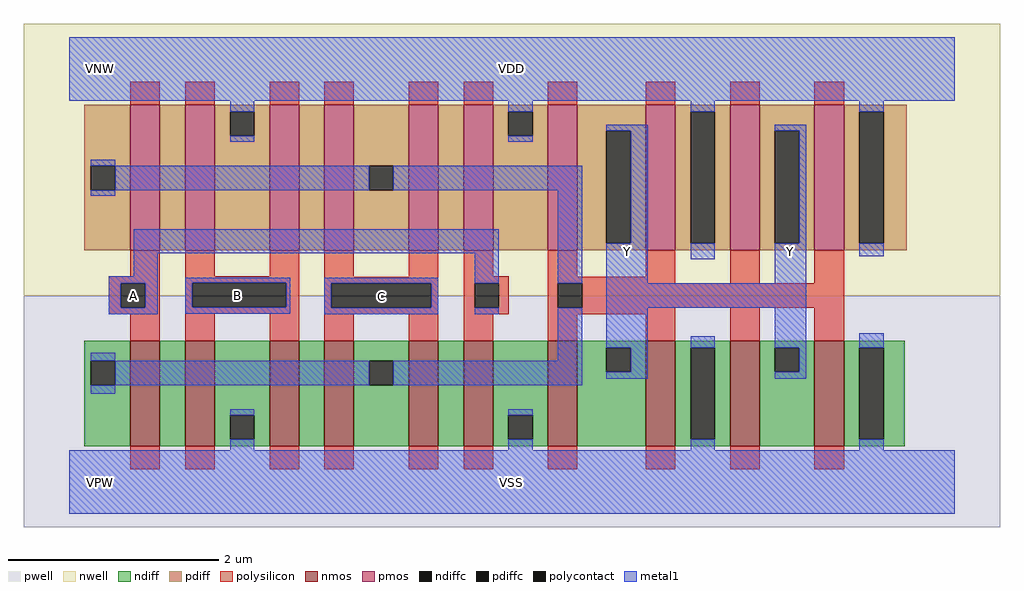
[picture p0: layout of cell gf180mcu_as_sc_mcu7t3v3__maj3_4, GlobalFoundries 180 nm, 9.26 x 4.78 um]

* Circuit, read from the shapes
.subckt gf180mcu_as_sc_mcu7t3v3__maj3_4 VDD VNW VPW VSS Y A B C
XM1 n1 A n2 VPW nfet_03v3 w=1u l=0.28u
XM2 VSS B n1 VPW nfet_03v3 w=1u l=0.28u
XM3 n3 B VSS VPW nfet_03v3 w=1u l=0.28u
XM4 n2 C n3 VPW nfet_03v3 w=1u l=0.28u
XM5 n4 C n2 VPW nfet_03v3 w=1u l=0.28u
XM6 VSS A n4 VPW nfet_03v3 w=1u l=0.28u
XM7 Y n2 VSS VPW nfet_03v3 w=1u l=0.28u m=4
XM8 n5 A n2 VNW pfet_03v3 w=1.38u l=0.28u
XM9 VDD B n5 VNW pfet_03v3 w=1.38u l=0.28u
XM10 n6 B VDD VNW pfet_03v3 w=1.38u l=0.28u
XM11 n2 C n6 VNW pfet_03v3 w=1.38u l=0.28u
XM12 n7 C n2 VNW pfet_03v3 w=1.38u l=0.28u
XM13 VDD A n7 VNW pfet_03v3 w=1.38u l=0.28u
XM14 Y n2 VDD VNW pfet_03v3 w=1.38u l=0.28u m=4
.ends

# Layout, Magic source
magic
tech gf180mcuD
magscale 1 10
<< nwell >>
rect -86 354 1766 870
<< pwell >>
rect -86 -86 1766 354
<< nmos >>
rect 116 68 172 268
rect 220 68 276 268
rect 380 68 436 268
rect 484 68 540 268
rect 644 68 700 268
rect 748 68 804 268
rect 908 68 964 268
rect 1094 68 1150 268
rect 1254 68 1310 268
rect 1414 68 1470 268
<< pmos >>
rect 116 440 172 716
rect 220 440 276 716
rect 380 440 436 716
rect 484 440 540 716
rect 644 440 700 716
rect 748 440 804 716
rect 908 440 964 716
rect 1094 440 1150 716
rect 1254 440 1310 716
rect 1414 440 1470 716
<< ndiff >>
rect 28 230 116 268
rect 28 184 41 230
rect 87 184 116 230
rect 28 68 116 184
rect 172 68 220 268
rect 276 127 380 268
rect 276 81 305 127
rect 351 81 380 127
rect 276 68 380 81
rect 436 68 484 268
rect 540 230 644 268
rect 540 184 569 230
rect 615 184 644 230
rect 540 68 644 184
rect 700 68 748 268
rect 804 127 908 268
rect 804 81 833 127
rect 879 81 908 127
rect 804 68 908 81
rect 964 255 1094 268
rect 964 209 1019 255
rect 1065 209 1094 255
rect 964 68 1094 209
rect 1150 255 1254 268
rect 1150 81 1179 255
rect 1225 81 1254 255
rect 1150 68 1254 81
rect 1310 255 1414 268
rect 1310 209 1339 255
rect 1385 209 1414 255
rect 1310 68 1414 209
rect 1470 255 1585 268
rect 1470 81 1499 255
rect 1545 81 1585 255
rect 1470 68 1585 81
<< pdiff >>
rect 28 600 116 716
rect 28 554 41 600
rect 87 554 116 600
rect 28 440 116 554
rect 172 440 220 716
rect 276 703 380 716
rect 276 657 305 703
rect 351 657 380 703
rect 276 440 380 657
rect 436 440 484 716
rect 540 600 644 716
rect 540 554 569 600
rect 615 554 644 600
rect 540 440 644 554
rect 700 440 748 716
rect 804 703 908 716
rect 804 657 833 703
rect 879 657 908 703
rect 804 440 908 657
rect 964 667 1094 716
rect 964 453 1019 667
rect 1065 453 1094 667
rect 964 440 1094 453
rect 1150 703 1254 716
rect 1150 453 1179 703
rect 1225 453 1254 703
rect 1150 440 1254 453
rect 1310 667 1414 716
rect 1310 453 1339 667
rect 1385 453 1414 667
rect 1310 440 1414 453
rect 1470 703 1589 716
rect 1470 453 1499 703
rect 1545 453 1589 703
rect 1470 440 1589 453
<< ndiffc >>
rect 41 184 87 230
rect 305 81 351 127
rect 569 184 615 230
rect 833 81 879 127
rect 1019 209 1065 255
rect 1179 81 1225 255
rect 1339 209 1385 255
rect 1499 81 1545 255
<< pdiffc >>
rect 41 554 87 600
rect 305 657 351 703
rect 569 554 615 600
rect 833 657 879 703
rect 1019 453 1065 667
rect 1179 453 1225 703
rect 1339 453 1385 667
rect 1499 453 1545 703
<< polysilicon >>
rect 116 716 172 760
rect 220 716 276 760
rect 380 716 436 760
rect 484 716 540 760
rect 644 716 700 760
rect 748 716 804 760
rect 908 716 964 760
rect 1094 716 1150 760
rect 1254 716 1310 760
rect 1414 716 1470 760
rect 116 391 172 440
rect 75 377 172 391
rect 75 331 98 377
rect 144 331 172 377
rect 75 318 172 331
rect 116 268 172 318
rect 220 391 276 440
rect 380 391 436 440
rect 220 378 436 391
rect 220 332 233 378
rect 412 332 436 378
rect 220 319 436 332
rect 220 268 276 319
rect 380 268 436 319
rect 484 390 540 440
rect 644 390 700 440
rect 484 377 700 390
rect 484 331 497 377
rect 687 331 700 377
rect 484 318 700 331
rect 484 268 540 318
rect 644 268 700 318
rect 748 391 804 440
rect 748 377 834 391
rect 748 331 769 377
rect 815 331 834 377
rect 748 318 834 331
rect 908 390 964 440
rect 1094 390 1150 440
rect 908 377 1150 390
rect 1254 377 1310 440
rect 1414 377 1470 440
rect 908 331 927 377
rect 973 331 1470 377
rect 908 318 1150 331
rect 748 268 804 318
rect 908 268 964 318
rect 1094 268 1150 318
rect 1254 268 1310 331
rect 1414 268 1470 331
rect 116 24 172 68
rect 220 24 276 68
rect 380 24 436 68
rect 484 24 540 68
rect 644 24 700 68
rect 748 24 804 68
rect 908 24 964 68
rect 1094 24 1150 68
rect 1254 24 1310 68
rect 1414 24 1470 68
<< polycontact >>
rect 98 331 144 377
rect 233 332 412 378
rect 497 331 687 377
rect 769 331 815 377
rect 927 331 973 377
<< metal1 >>
rect 0 724 1680 844
rect 305 703 351 724
rect 305 646 351 657
rect 833 703 879 724
rect 1179 703 1225 724
rect 833 646 879 657
rect 1019 667 1098 678
rect 41 600 87 612
rect 87 554 569 600
rect 615 554 973 600
rect 41 543 87 554
rect 122 434 815 480
rect 122 391 168 434
rect 75 377 168 391
rect 75 331 98 377
rect 144 331 168 377
rect 75 318 168 331
rect 220 378 419 388
rect 220 332 233 378
rect 412 332 419 378
rect 220 319 419 332
rect 484 377 700 388
rect 484 331 497 377
rect 687 331 700 377
rect 484 318 700 331
rect 769 377 815 434
rect 769 318 815 331
rect 927 377 973 554
rect 41 230 87 245
rect 927 230 973 331
rect 87 184 569 230
rect 615 184 973 230
rect 1065 453 1098 667
rect 1019 377 1098 453
rect 1499 703 1545 724
rect 1179 423 1225 453
rect 1339 667 1398 678
rect 1385 453 1398 667
rect 1339 377 1398 453
rect 1499 429 1545 453
rect 1019 331 1398 377
rect 1019 255 1098 331
rect 1065 209 1098 255
rect 1019 196 1098 209
rect 1179 255 1225 277
rect 41 168 87 184
rect 305 127 351 138
rect 305 60 351 81
rect 833 127 879 138
rect 833 60 879 81
rect 1339 255 1398 331
rect 1385 209 1398 255
rect 1339 196 1398 209
rect 1499 255 1545 282
rect 1179 60 1225 81
rect 1499 60 1545 81
rect 0 -60 1680 60
<< labels >>
flabel metal1 s 0 724 1680 844 0 FreeSans 400 0 0 0 VDD
port 1 nsew power bidirectional abutment
flabel metal1 s 0 -60 1680 60 0 FreeSans 400 0 0 0 VSS
port 4 nsew ground bidirectional abutment
flabel nwell s 10 734 110 834 0 FreeSans 400 0 0 0 VNW
port 2 nsew power bidirectional
flabel pwell s 10 -50 110 50 0 FreeSans 400 0 0 0 VPW
port 3 nsew ground bidirectional
flabel metal1 1019 196 1098 678 0 FreeSans 200 0 0 0 Y
port 5 nsew signal output
flabel metal1 75 318 168 391 0 FreeSans 200 0 0 0 A
port 6 nsew signal input
flabel metal1 220 319 419 388 0 FreeSans 200 0 0 0 B
port 7 nsew signal input
flabel metal1 484 318 700 388 0 FreeSans 200 0 0 0 C
port 8 nsew signal input
flabel metal1 1339 196 1398 678 0 FreeSans 200 0 0 0 Y
port 5 nsew signal output
<< properties >>
string FIXED_BBOX 0 0 1680 784
string LEFclass CORE
string LEFsite unithd
string LEFsymmetry X Y
string MASKHINTS_NPLUS -16 -46 1696 354
string MASKHINTS_PPLUS -16 354 1696 830
<< end >>
